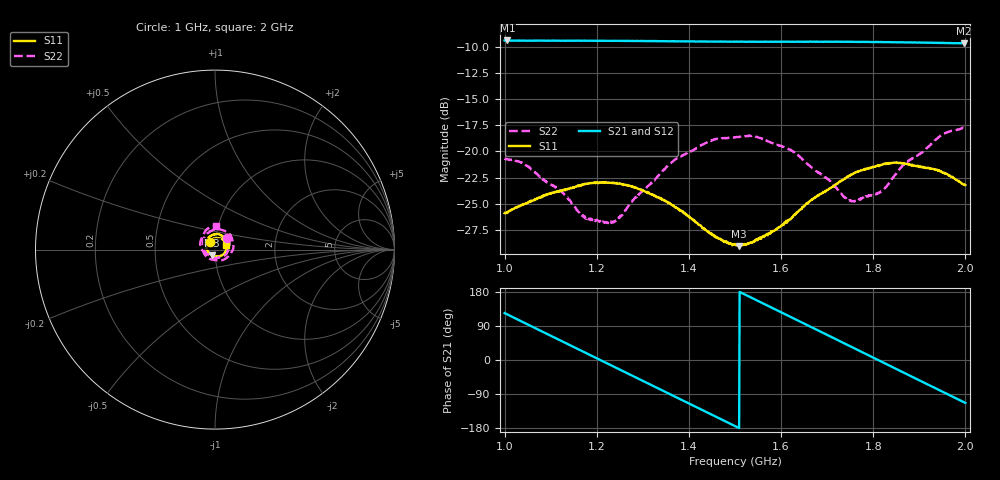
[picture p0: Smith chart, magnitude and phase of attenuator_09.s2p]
#  HZ  S  DB  R  50.00
! Rohde & Schwarz Vector Network Analyzer
! Rohde-Schwarz,ZNB8-4Port,1311601044102961,2.82
! Created: UTC 3/4/2022, 3:51:53 PM
! freq[Hz]  db:S11  ang:S11  db:S21  ang:S21  db:S12  ang:S12  db:S22  ang:S22
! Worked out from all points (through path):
!   1001 points, 1 GHz to 2 GHz, reference 50 ohm
!   highest |S21| = -9.39 dB at 1.006 GHz (marker M1); lowest = -9.7 dB at 1.997 GHz (marker M2)
!   group delay of S21, straight-line fit = 1.66 ns
!   lowest |S11| = -29.1 dB at 1.509 GHz (marker M3), VSWR 1.07, Z = 48.3 - j3 ohm
!   |S11| at or under -10 dB: start of sweep to end of sweep
!   |S22| runs from -26.9 to -17.7 dB; largest |S21 - S12| = 0.0014
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1e9  -25.89 127.0  -9.39 123.7  -9.39 123.7  -20.68 44.7
1.006e9  -25.89 125.2  -9.39 120.2  -9.39 120.1  -20.74 40.9
1.046e9  -24.96 109.8  -9.41 96.3  -9.40 96.3  -21.32 20.8
1.084e9  -24.26 96.8  -9.41 73.8  -9.40 73.8  -22.74 -1.7
1.167e9  -23.20 65.3  -9.41 24.3  -9.41 24.2  -26.02 -62.5
1.242e9  -23.02 35.5  -9.44 -20.5  -9.43 -20.5  -26.61 -138.7
1.292e9  -23.59 13.2  -9.44 -50.4  -9.43 -50.5  -24.04 179.0
1.334e9  -24.43 -7.5  -9.46 -75.5  -9.45 -75.5  -22.32 149.9
1.409e9  -26.50 -48.3  -9.48 -120.2  -9.48 -120.2  -19.88 110.0
1.457e9  -28.08 -80.3  -9.51 -148.9  -9.50 -148.8  -18.84 86.9
1.5e9  -28.84 -111.0  -9.51 -174.4  -9.50 -174.4  -18.65 65.5
1.509e9  -29.05 -118.2  -9.51 -179.7  -9.50 -179.7  -18.63 60.9
1.552e9  -28.35 -149.2  -9.52 154.7  -9.51 154.7  -18.69 40.6
1.598e9  -27.19 -175.8  -9.51 127.2  -9.50 127.2  -19.45 15.8
1.667e9  -24.65 150.5  -9.51 86.0  -9.50 85.9  -21.55 -25.2
1.707e9  -23.51 133.0  -9.52 62.0  -9.51 62.0  -22.85 -54.2
1.752e9  -22.20 114.2  -9.52 35.1  -9.52 35.1  -24.76 -97.2
1.794e9  -21.54 97.6  -9.55 10.0  -9.53 9.9  -24.18 -137.9
1.834e9  -21.11 81.6  -9.55 -14.1  -9.55 -14.1  -23.07 -176.8
1.92e9  -21.57 48.7  -9.61 -65.5  -9.61 -65.6  -19.53 128.2
1.997e9  -23.17 23.9  -9.67 -111.5  -9.66 -111.6  -17.73 90.5
2e9  -23.21 22.9  -9.66 -113.4  -9.67 -113.3  -17.66 88.7
